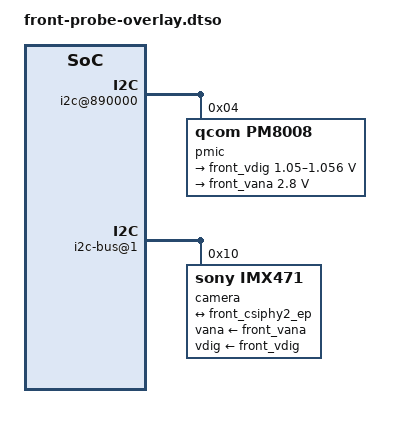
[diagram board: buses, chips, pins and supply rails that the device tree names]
// SPDX-License-Identifier: BSD-3-Clause
/dts-v1/;
/plugin/;
#include <dt-bindings/clock/qcom,sm8150-camcc.h>
#include <dt-bindings/gpio/gpio.h>
#include <dt-bindings/media/video-interfaces.h>

/ {
	fragment@0 {
		target-path = "/soc@0/geniqup@8c0000/i2c@890000";
		__overlay__ {
			#address-cells = <1>;
			#size-cells = <0>;
			pmic@4 {
				compatible = "qcom,pm8008";
				reg = <4>;
				qcom,initial-address = <8>;
				reset-gpios = <PMIC_GPIO_PHANDLE 4 GPIO_ACTIVE_LOW>;
				vdd-l1-l2-supply = <S8C_PHANDLE>;
				/* Four PLDO input nets remain unknown; no fake parents. */
				regulators {
					front_vdig: ldo2 {
						regulator-name = "cam-front-vdig-k196";
						regulator-min-microvolt = <1050000>;
						regulator-max-microvolt = <1056000>;
						regulator-enable-ramp-delay = <1000>;
					};
					front_vana: ldo5 {
						regulator-name = "cam-front-vana-k196";
						regulator-min-microvolt = <2800000>;
						regulator-max-microvolt = <2800000>;
						regulator-enable-ramp-delay = <1000>;
					};
				};
			};
		};
	};
	fragment@1 {
		target-path = "/soc@0/pinctrl@3100000";
		__overlay__ {
			front_mclk_active: samurai-front-mclk-active-state {
				pins = "gpio15";
				function = "cam_mclk";
				drive-strength = <2>;
				bias-disable;
			};
			front_mclk_sleep: samurai-front-mclk-sleep-state {
				pins = "gpio15";
				function = "gpio";
				drive-strength = <2>;
				bias-disable;
				input-enable;
			};
			front_select_active: samurai-front-select-active-state {
				pins = "gpio29";
				function = "gpio";
				drive-strength = <2>;
				bias-disable;
				output-high;
			};
			front_select_sleep: samurai-front-select-sleep-state {
				pins = "gpio29";
				function = "gpio";
				drive-strength = <2>;
				bias-pull-down;
				output-low;
			};
			front_reset: samurai-front-reset-state {
				pins = "gpio12";
				function = "gpio";
				drive-strength = <2>;
				bias-pull-down;
			};
		};
	};
	fragment@2 {
		target-path = "/soc@0/cci@ac4b000/i2c-bus@1";
		__overlay__ {
			#address-cells = <1>;
			#size-cells = <0>;
			camera@10 {
				compatible = "sony,imx471";
				reg = <0x10>;
				vana-supply = <&front_vana>;
				vdig-supply = <&front_vdig>;
				vif-supply = <VIO_PHANDLE>;
				clocks = <CAMCC_PHANDLE CAM_CC_MCLK2_CLK>;
				assigned-clocks = <CAMCC_PHANDLE CAM_CC_MCLK2_CLK>;
				assigned-clock-rates = <19200000>;
				reset-gpios = <TLMM_PHANDLE 12 GPIO_ACTIVE_LOW>;
				pinctrl-names = "default", "sleep";
				pinctrl-0 = <&front_mclk_active &front_select_active &front_reset>;
				pinctrl-1 = <&front_mclk_sleep &front_select_sleep &front_reset>;
				orientation = <0>;
				port {
					front_ep: endpoint {
						data-lanes = <1 2 3 4>;
						link-frequencies = /bits/ 64 <200000000>;
						remote-endpoint = <&front_csiphy2_ep>;
					};
				};
			};
		};
	};
	fragment@3 {
		target-path = "/";
		__overlay__ {
			samurai-front-restore {
				pinctrl-names = "default";
				pinctrl-0 = <&front_mclk_sleep &front_select_sleep &front_reset>;
			};
		};
	};
	fragment@4 {
		target-path = "/soc@0/camss@acb3000/ports";
		__overlay__ {
			#address-cells = <1>;
			#size-cells = <0>;
			port@2 {
				reg = <2>;
				front_csiphy2_ep: endpoint {
					clock-lanes = <7>;
					data-lanes = <0 1 2 3>;
					bus-type = <MEDIA_BUS_TYPE_CSI2_DPHY>;
					remote-endpoint = <&front_ep>;
				};
			};
		};
	};
};
